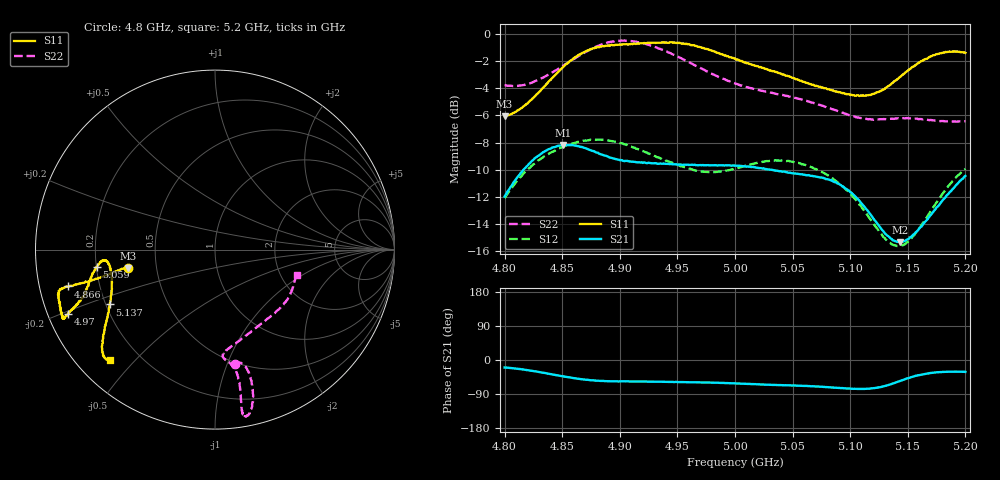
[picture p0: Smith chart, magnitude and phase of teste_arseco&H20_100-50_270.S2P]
! Network Analyzer HP8722D
! Hewlett-Packard
! Data name: Linha & Wilkinson
! Saver's name: Rodrigo Anjos
! Comments: Teste da utilização de aquisição
! continua pelo VNA HP8722D
! Time and date: 6/5/2025 14:49
!  Frequency  S11  S21  S12  S22
# HZ  S  MA R 50
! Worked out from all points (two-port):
!   401 points, 4.8 GHz to 5.2 GHz, reference 50 ohm
!   highest |S21| = -8.17 dB at 4.851 GHz (marker M1); lowest = -15.3 dB at 5.143 GHz (marker M2)
!   |S21| within 3 dB of the highest: 4.806 GHz to 5.092 GHz (286.4 MHz wide, 5.79 % of centre); 5.191542 GHz to end of sweep
!   lowest |S11| = -6.1 dB at 4.8 GHz (marker M3), VSWR 2.97, Z = 17 - j4.58 ohm
!   |S11| at or under -10 dB: nowhere
!   |S22| runs from -6.5 to -0.5 dB; largest |S21 - S12| = 0.62
!   S11 on the Smith chart (normalised r, x): 4.8 GHz: 0.34, -0.09; 4.866 GHz: 0.09, -0.12; 4.97 GHz: 0.06, -0.21; 5.059 GHz: 0.20, -0.07; 5.137 GHz: 0.22, -0.23; 5.2 GHz: 0.10, -0.43
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4.8e9  0.4968 -168.2  0.2522 -19.8  0.2489 -140.9  0.6475 -80.3
4.823e9  0.5706 -167.5  0.3384 -28.3  0.3255 -143.8  0.66 -76.0
4.851e9  0.756 -165.9  0.3904 -43.4  0.3845 -149.2  0.7648 -74.5
4.866e9  0.8423 -165.9  0.3835 -50.4  0.4023 -151.9  0.8378 -75.3
4.867e9  0.8486 -165.8  0.3837 -50.9  0.4026 -152.0  0.8428 -75.4
4.879e9  0.8904 -165.7  0.3668 -54.4  0.4074 -154.1  0.8958 -76.6
4.899e9  0.912 -162.9  0.3443 -56.6  0.3978 -156.7  0.9427 -79.1
4.934e9  0.9283 -156.6  0.3328 -57.5  0.3508 -155.7  0.8824 -80.4
4.97e9  0.893 -156.4  0.3293 -59.2  0.3123 -146.9  0.7483 -79.6
5e9  0.8115 -159.1  0.3274 -61.8  0.3194 -137.2  0.657 -81.3
5.035e9  0.7242 -165.4  0.3141 -65.8  0.3429 -134.3  0.6028 -85.6
5.059e9  0.6669 -171.5  0.3038 -68.3  0.3313 -136.0  0.5715 -84.5
5.067e9  0.6499 -173.0  0.3005 -69.2  0.3228 -136.8  0.5587 -82.6
5.084e9  0.6212 -174.6  0.2899 -72.4  0.2952 -138.4  0.529 -76.2
5.101e9  0.5977 -172.1  0.2604 -75.9  0.2555 -138.8  0.5012 -66.5
5.116e9  0.5956 -165.5  0.2212 -75.9  0.2123 -135.5  0.4849 -55.8
5.134e9  0.6465 -154.2  0.1787 -65.3  0.1706 -120.7  0.4866 -43.4
5.137e9  0.6608 -152.4  0.1739 -62.4  0.1677 -116.9  0.4874 -41.5
5.143e9  0.6925 -149.3  0.1714 -55.8  0.1655 -109.0  0.4879 -37.9
5.154e9  0.756 -144.5  0.1813 -44.3  0.1791 -95.1  0.4888 -32.3
5.174e9  0.8378 -138.5  0.2265 -32.8  0.2364 -80.4  0.4793 -23.8
5.2e9  0.8509 -133.6  0.3002 -31.6  0.3191 -77.0  0.4771 -17.6
